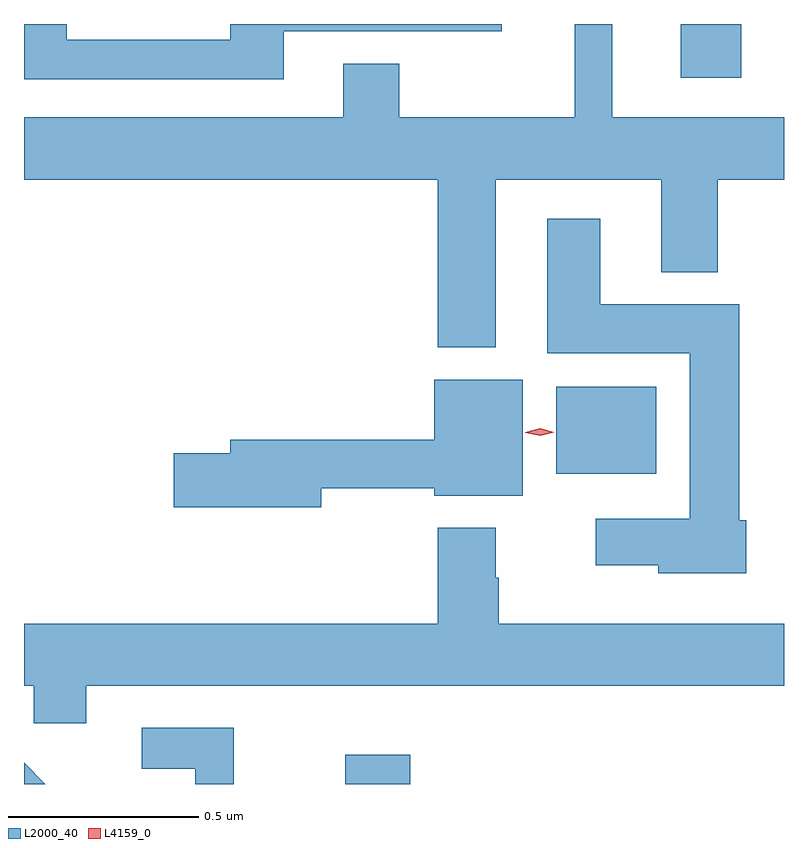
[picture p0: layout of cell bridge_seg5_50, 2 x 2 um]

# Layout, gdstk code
import gdstk
lib = gdstk.Library(unit=1e-6, precision=1e-09)
def R(c, l, rs):  # rectangles x0, y0, x1, y1
    for r in rs: c.add(gdstk.rectangle(r[:2], r[2:], *l))
def P(c, l, *ps):  # polygons
    for p in ps: c.add(gdstk.Polygon(p, *l))
L2000_40 = (2000, 40)
L4159_0 = (4159, 0)

bridge_seg5_50 = lib.new_cell('bridge_seg5_50')
R(bridge_seg5_50, L2000_40, [(729.89,845.846,730.061,845.923), (730.445,846.662,730.708,846.892), (730.772,847.704,730.931,847.846)])
P(bridge_seg5_50, L2000_40, [(730.285,847.436),(730.721,847.436),(730.721,847.193),(730.869,847.193),(730.869,847.436),(731.044,847.436),(731.044,847.6),(730.592,847.6),(730.592,847.846),(730.493,847.846),(730.493,847.6),(730.032,847.6),(730.032,847.742),(729.884,847.742),(729.884,847.6),(729.044,847.6),(729.044,847.436),(730.133,847.436),(730.133,846.995),(730.285,846.995)],
  [(729.727,847.827),(730.301,847.827),(730.301,847.846),(729.587,847.846),(729.587,847.804),(729.157,847.804),(729.157,847.846),(729.044,847.846),(729.044,847.7),(729.727,847.7)],
  [(730.944,846.54),(730.926,846.54),(730.926,847.108),(730.561,847.108),(730.561,847.333),(730.421,847.333),(730.421,846.98),(730.796,846.98),(730.796,846.544),(730.548,846.544),(730.548,846.422),(730.713,846.422),(730.713,846.401),(730.944,846.401)],
  [(729.826,846.624),(730.124,846.624),(730.124,846.605),(730.357,846.605),(730.357,846.91),(730.124,846.91),(730.124,846.752),(729.587,846.752),(729.587,846.716),(729.438,846.716),(729.438,846.574),(729.826,846.574)],
  [(729.208,846.104),(731.044,846.104),(731.044,846.268),(730.293,846.268),(730.293,846.389),(730.285,846.389),(730.285,846.52),(730.133,846.52),(730.133,846.268),(729.044,846.268),(729.044,846.104),(729.069,846.104),(729.069,846.006),(729.208,846.006)],
  [(729.596,845.994),(729.354,845.994),(729.354,845.886),(729.494,845.886),(729.494,845.846),(729.596,845.846)],
  [(729.044,845.902),(729.044,845.846),(729.1,845.846)])
P(bridge_seg5_50, L4159_0, [(730.402,846.762),(730.363,846.771),(730.363,846.771),(730.363,846.772),(730.402,846.782),(730.44,846.772),(730.44,846.772),(730.44,846.772)])

lib.write_gds('bridge_seg5_50.gds')
